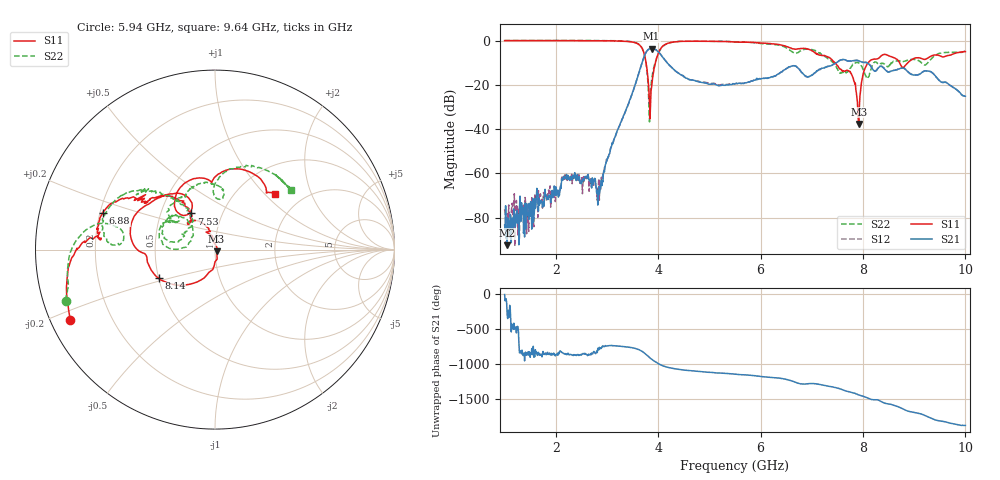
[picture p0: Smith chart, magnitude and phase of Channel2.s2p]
!Agilent Technologies,N5227A,US51270477,A.10.00.00
!File generated by LCAF-GAM-UPV software
!josevmart@iteam.upv.es
!S2P File: Measurements: S11, S21, S12, S22:
# Hz S  dB  R 50
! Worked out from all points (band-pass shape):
!   901 points, 1 GHz to 10 GHz, reference 50 ohm
!   highest |S21| = -3.60 dB at 3.87 GHz (marker M1); lowest = -92.6 dB at 1.05 GHz (marker M2)
!   |S21| within 3 dB of the highest: 3.735 GHz to 4.057 GHz (321.6 MHz wide, 8.26 % of centre)
!   lowest |S11| = -37.7 dB at 7.92 GHz (marker M3), VSWR 1.03, Z = 50.8 - j1.01 ohm
!   |S11| at or under -10 dB: 3.763 GHz to 3.946 GHz (183 MHz wide, 4.75 % of centre); 7.453 GHz to 8.101 GHz (647.8 MHz wide, 8.33 % of centre); 8.713 GHz to 8.874 GHz (161 MHz wide, 1.83 % of centre)
!   |S22| runs from -36.8 to 0.1 dB; largest |S21 - S12| = 0.061
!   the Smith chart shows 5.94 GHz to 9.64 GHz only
!   S11 on the Smith chart (normalised r, x): 5.94 GHz: 0.06, -0.23; 6.88 GHz: 0.21, +0.15; 7.53 GHz: 0.71, +0.30; 8.14 GHz: 0.50, -0.18; 9.64 GHz: 1.48, +1.15
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1e9  0.00 -28.4  -83.43 -10.4  -76.22 -36.1  0.02 -28.9
1.05e9  0.00 -29.7  -92.60 58.3  -78.22 34.6  0.02 -30.3
2.5e9  0.00 -72.1  -64.80 -155.9  -63.15 -147.5  0.06 -73.7
2.84e9  -0.02 -83.5  -66.03 -81.4  -62.31 -81.5  0.05 -86.0
3.39e9  -0.36 -111.3  -30.25 -39.7  -30.47 -39.2  -0.28 -113.3
3.64e9  -2.09 -145.8  -13.22 -84.3  -13.38 -82.6  -1.97 -149.2
3.75e9  -8.27 178.8  -5.87 -138.9  -5.89 -137.1  -8.56 170.4
3.82e9  -23.52 -177.7  -3.81 176.5  -3.84 175.0  -29.89 96.6
3.87e9  -21.12 -34.3  -3.60 146.4  -3.52 148.3  -17.76 -33.8
4e9  -5.86 -34.9  -5.01 83.2  -4.99 83.6  -5.88 -39.8
4.39e9  -0.39 -89.0  -14.61 0.7  -14.59 0.9  -0.38 -90.9
5.5e9  -0.64 -137.5  -19.52 -68.5  -19.48 -68.7  -0.52 -141.8
5.94e9  -0.94 -153.9  -17.60 -95.2  -17.41 -95.3  -1.12 -161.2
6.88e9  -3.65 162.0  -15.98 149.7  -16.18 151.6  -3.86 168.3
7e9  -4.60 150.9  -15.60 156.6  -15.69 158.4  -4.04 155.7
7.53e9  -12.38 123.2  -9.16 86.7  -9.20 87.3  -14.07 131.6
7.77e9  -14.87 119.0  -9.26 31.3  -9.31 31.6  -11.81 170.2
7.92e9  -37.73 -49.8  -9.22 -5.8  -9.15 -5.0  -10.07 145.5
8.14e9  -9.04 -153.0  -11.22 -64.0  -11.06 -65.5  -14.21 178.8
8.5e9  -6.85 146.7  -14.25 -133.6  -14.16 -135.6  -11.74 144.0
9.64e9  -6.81 42.6  -19.14 -38.5  -19.16 -40.0  -5.34 38.2
1e10  -4.95 -0.8  -25.16 -82.1  -25.20 -82.1  -4.76 -3.9
